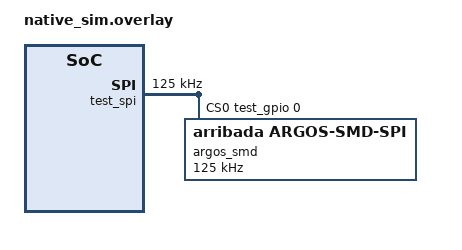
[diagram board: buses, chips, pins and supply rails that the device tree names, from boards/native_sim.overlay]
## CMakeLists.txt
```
cmake_minimum_required(VERSION 3.20.0)

list(APPEND DTS_ROOT ${CMAKE_CURRENT_LIST_DIR}/../..)
find_package(Zephyr REQUIRED HINTS $ENV{ZEPHYR_BASE})

project(spi_test LANGUAGES C)

target_sources(app PRIVATE src/main.c src/argos_spi_emul.c)
```

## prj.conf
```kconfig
CONFIG_ZTEST=y

CONFIG_SPI=y
CONFIG_EMUL=y
CONFIG_SPI_EMUL=y
CONFIG_GPIO=y

CONFIG_ARGOS_SMD=y
CONFIG_ARGOS_SMD_SPI=y
```

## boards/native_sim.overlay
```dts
/ {
	test_gpio: gpio@feedface {
		compatible = "zephyr,gpio-emul";
		reg = <0xfeedface 0x1000>;
		gpio-controller;
		#gpio-cells = <2>;
	};

	test_spi: spi@33334444 {
		compatible = "zephyr,spi-emul-controller";
		reg = <0x33334444 0x1000>;
		#address-cells = <1>;
		#size-cells = <0>;
		clock-frequency = <125000>;
		cs-gpios = <&test_gpio 0 0>;

		argos_smd: argos-smd@0 {
			compatible = "arribada,argos-smd-spi";
			reg = <0>;
			spi-max-frequency = <125000>;
		};
	};
};
```

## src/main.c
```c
/*
 * Copyright (c) 2025 Arribada Initiative
 *
 * SPDX-License-Identifier: Apache-2.0
 *
 * Functional tests for Argos SMD SPI driver.
 * Uses a Protocol A+ emulator backend to test the full driver stack.
 */

#include <zephyr/device.h>
#include <zephyr/devicetree.h>
#include <zephyr/ztest.h>
#include <string.h>

#include <argos-smd/argos_smd_spi.h>

static const struct device *dev = DEVICE_DT_GET_ONE(arribada_argos_smd_spi);

ZTEST(argos_smd_spi, test_device_ready)
{
	zassert_true(device_is_ready(dev), "SPI device not ready");
}

ZTEST(argos_smd_spi, test_ping)
{
	zassert_ok(argos_spi_ping(dev), "Ping failed");
}

ZTEST(argos_smd_spi, test_get_version)
{
	char version[32];
	size_t len = sizeof(version);

	zassert_ok(argos_spi_get_version(dev, version, &len),
		   "Get version failed");
	zassert_true(len > 0, "Version length is 0");
	zassert_equal(strcmp(version, "1.0.0-test"), 0,
		      "Version mismatch: got '%s'", version);
}

ZTEST(argos_smd_spi, test_get_sn)
{
	char sn[32];
	size_t len = sizeof(sn);

	zassert_ok(argos_spi_get_sn(dev, sn, &len), "Get SN failed");
	zassert_true(len > 0, "SN length is 0");
	zassert_equal(strcmp(sn, "SN12345678"), 0,
		      "SN mismatch: got '%s'", sn);
}

ZTEST(argos_smd_spi, test_get_id)
{
	uint8_t id[4];
	size_t len = sizeof(id);

	zassert_ok(argos_spi_get_id(dev, id, &len), "Get ID failed");
	zassert_equal(len, 4, "ID length mismatch");
	zassert_equal(id[0], 0xDE);
	zassert_equal(id[1], 0xAD);
	zassert_equal(id[2], 0xBE);
	zassert_equal(id[3], 0xEF);
}

ZTEST(argos_smd_spi, test_get_addr)
{
	uint8_t addr[4];
	size_t len = sizeof(addr);

	zassert_ok(argos_spi_get_addr(dev, addr, &len), "Get addr failed");
	zassert_equal(len, 4, "Addr length mismatch");
	zassert_equal(addr[0], 0x01);
	zassert_equal(addr[1], 0x02);
	zassert_equal(addr[2], 0x03);
	zassert_equal(addr[3], 0x04);
}

ZTEST(argos_smd_spi, test_set_get_id)
{
	uint8_t new_id[] = {0xCA, 0xFE, 0xBA, 0xBE};
	uint8_t read_id[4];
	size_t len;

	zassert_ok(argos_spi_set_id(dev, new_id, sizeof(new_id)),
		   "Set ID failed");

	len = sizeof(read_id);
	zassert_ok(argos_spi_get_id(dev, read_id, &len),
		   "Get ID after set failed");
	zassert_equal(len, 4, "ID length mismatch");
	zassert_equal(memcmp(read_id, new_id, 4), 0,
		      "ID data mismatch after set");
}

ZTEST(argos_smd_spi, test_set_get_addr)
{
	uint8_t new_addr[] = {0xAA, 0xBB, 0xCC, 0xDD};
	uint8_t read_addr[4];
	size_t len;

	zassert_ok(argos_spi_set_addr(dev, new_addr, sizeof(new_addr)),
		   "Set addr failed");

	len = sizeof(read_addr);
	zassert_ok(argos_spi_get_addr(dev, read_addr, &len),
		   "Get addr after set failed");
	zassert_equal(len, 4, "Addr length mismatch");
	zassert_equal(memcmp(read_addr, new_addr, 4), 0,
		      "Addr data mismatch after set");
}

ZTEST_SUITE(argos_smd_spi, NULL, NULL, NULL, NULL, NULL);
```

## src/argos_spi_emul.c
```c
/*
 * Copyright (c) 2025 Arribada Initiative
 *
 * SPDX-License-Identifier: Apache-2.0
 *
 * Protocol A+ SPI Emulator for Argos SMD driver testing.
 *
 * Emulates the pipelined protocol where:
 * - Transaction 1: Master sends CMD, emulator returns idle pattern (0xAA)
 * - Transaction 2: Master sends NOP, emulator returns response to previous CMD
 */

#include <zephyr/device.h>
#include <zephyr/drivers/emul.h>
#include <zephyr/drivers/spi.h>
#include <zephyr/drivers/spi_emul.h>
#include <zephyr/logging/log.h>
#include <string.h>

#include <argos-smd/argos_smd_spi.h>

LOG_MODULE_REGISTER(argos_spi_emul, LOG_LEVEL_DBG);

#define DT_DRV_COMPAT arribada_argos_smd_spi

struct argos_spi_emul_data {
	/* Pending command from previous transaction */
	uint8_t pending_cmd;
	uint8_t pending_seq;
	uint8_t pending_data[ARGOS_SPI_MAX_PAYLOAD];
	uint8_t pending_data_len;
	bool has_pending;

	/* Emulated device state */
	char version[32];
	char sn[32];
	uint8_t id[4];
	size_t id_len;
	uint8_t addr[4];
	size_t addr_len;
};

/**
 * @brief Build a Protocol A+ response frame into a 64-byte buffer
 */
static void build_response(uint8_t *buf, uint8_t seq, uint8_t status,
			    const uint8_t *data, uint8_t data_len)
{
	size_t idx = 0;

	buf[idx++] = ARGOS_SPI_MAGIC_RESPONSE;
	buf[idx++] = seq;
	buf[idx++] = status;
	buf[idx++] = data_len;

	if (data && data_len > 0) {
		memcpy(&buf[idx], data, data_len);
		idx += data_len;
	}

	/* CRC-8 over magic + seq + status + len + data */
	buf[idx] = argos_spi_crc8_ccitt(buf, idx);
	idx++;

	/* Pad with 0xFF */
	if (idx < ARGOS_SPI_TRANSACTION_SIZE) {
		memset(&buf[idx], 0xFF, ARGOS_SPI_TRANSACTION_SIZE - idx);
	}
}

/**
 * @brief Handle a command and build the response
 */
static void handle_command(struct argos_spi_emul_data *data,
			   uint8_t *rx_buf, uint8_t cmd, uint8_t seq,
			   const uint8_t *cmd_data, uint8_t cmd_data_len)
{
	switch (cmd) {
	case ARGOS_SPI_CMD_PING:
		build_response(rx_buf, seq, PROT_OK, NULL, 0);
		break;

	case ARGOS_SPI_CMD_READ_VERSION:
		build_response(rx_buf, seq, PROT_OK,
			       (const uint8_t *)data->version,
			       strlen(data->version));
		break;

	case ARGOS_SPI_CMD_READ_SN:
		build_response(rx_buf, seq, PROT_OK,
			       (const uint8_t *)data->sn,
			       strlen(data->sn));
		break;

	case ARGOS_SPI_CMD_READ_ID:
		build_response(rx_buf, seq, PROT_OK,
			       data->id, data->id_len);
		break;

	case ARGOS_SPI_CMD_READ_ADDR:
		build_response(rx_buf, seq, PROT_OK,
			       data->addr, data->addr_len);
		break;

	/* 2-phase write: REQ commands just return OK */
	case ARGOS_SPI_CMD_WRITE_ID_REQ:
	case ARGOS_SPI_CMD_WRITE_ADDR_REQ:
		build_response(rx_buf, seq, PROT_OK, NULL, 0);
		break;

	/* 2-phase write: WRITE commands store data and return OK */
	case ARGOS_SPI_CMD_WRITE_ID:
		if (cmd_data_len > 0 && cmd_data_len <= sizeof(data->id)) {
			memcpy(data->id, cmd_data, cmd_data_len);
			data->id_len = cmd_data_len;
		}
		build_response(rx_buf, seq, PROT_OK, NULL, 0);
		break;

	case ARGOS_SPI_CMD_WRITE_ADDR:
		if (cmd_data_len > 0 && cmd_data_len <= sizeof(data->addr)) {
			memcpy(data->addr, cmd_data, cmd_data_len);
			data->addr_len = cmd_data_len;
		}
		build_response(rx_buf, seq, PROT_OK, NULL, 0);
		break;

	default:
		LOG_WRN("Unhandled command: 0x%02X", cmd);
		build_response(rx_buf, seq, PROT_INVALID_CMD, NULL, 0);
		break;
	}
}

/**
 * @brief SPI emulator IO callback - handles each 64-byte SPI transaction
 *
 * Implements the pipelined Protocol A+:
 * - CMD transaction: store the command, return idle pattern
 * - NOP transaction: return response to previously stored command
 */
static int argos_spi_emul_io(const struct emul *target,
			     const struct spi_config *config,
			     const struct spi_buf_set *tx_bufs,
			     const struct spi_buf_set *rx_bufs)
{
	struct argos_spi_emul_data *data = target->data;

	ARG_UNUSED(config);

	if (!tx_bufs || tx_bufs->count < 1 || !rx_bufs || rx_bufs->count < 1) {
		return -EINVAL;
	}

	const uint8_t *tx = tx_bufs->buffers[0].buf;
	uint8_t *rx = rx_bufs->buffers[0].buf;
	size_t len = tx_bufs->buffers[0].len;

	/* Default: fill RX with idle pattern */
	memset(rx, ARGOS_SPI_IDLE_PATTERN, len);

	/* Parse TX frame - must have at least header + CRC */
	if (len >= (ARGOS_SPI_HEADER_SIZE + ARGOS_SPI_CRC_SIZE) &&
	    tx[0] == ARGOS_SPI_MAGIC_REQUEST) {
		uint8_t seq = tx[1];
		uint8_t cmd = tx[2];
		uint8_t data_len = tx[3];

		LOG_DBG("RX cmd=0x%02X seq=%u len=%u pending=%d",
			cmd, seq, data_len, data->has_pending);

		if (cmd == ARGOS_SPI_CMD_NOP && data->has_pending) {
			/* NOP with pending command: return the response */
			handle_command(data, rx, data->pending_cmd, seq,
				       data->pending_data,
				       data->pending_data_len);
			data->has_pending = false;
		} else if (cmd != ARGOS_SPI_CMD_NOP) {
			/* Store command for next transaction */
			data->pending_cmd = cmd;
			data->pending_seq = seq;
			data->pending_data_len = data_len;
			if (data_len > 0 &&
			    data_len <= ARGOS_SPI_MAX_PAYLOAD) {
				memcpy(data->pending_data, &tx[4], data_len);
			}
			data->has_pending = true;
		}
	}

	return 0;
}

static int argos_spi_emul_init(const struct emul *target,
			       const struct device *parent)
{
	struct argos_spi_emul_data *data = target->data;

	ARG_UNUSED(parent);

	/* Initialize emulated device state */
	strcpy(data->version, "1.0.0-test");
	strcpy(data->sn, "SN12345678");
	data->id[0] = 0xDE;
	data->id[1] = 0xAD;
	data->id[2] = 0xBE;
	data->id[3] = 0xEF;
	data->id_len = 4;
	data->addr[0] = 0x01;
	data->addr[1] = 0x02;
	data->addr[2] = 0x03;
	data->addr[3] = 0x04;
	data->addr_len = 4;
	data->has_pending = false;

	LOG_INF("Argos SMD SPI emulator initialized");
	return 0;
}

static const struct spi_emul_api argos_spi_emul_api = {
	.io = argos_spi_emul_io,
};

#define ARGOS_SPI_EMUL_DEFINE(n)                                     \
	static struct argos_spi_emul_data argos_spi_emul_data_##n;   \
	EMUL_DT_INST_DEFINE(n, argos_spi_emul_init,                  \
			    &argos_spi_emul_data_##n, NULL,           \
			    &argos_spi_emul_api, NULL)

DT_INST_FOREACH_STATUS_OKAY(ARGOS_SPI_EMUL_DEFINE)
```
